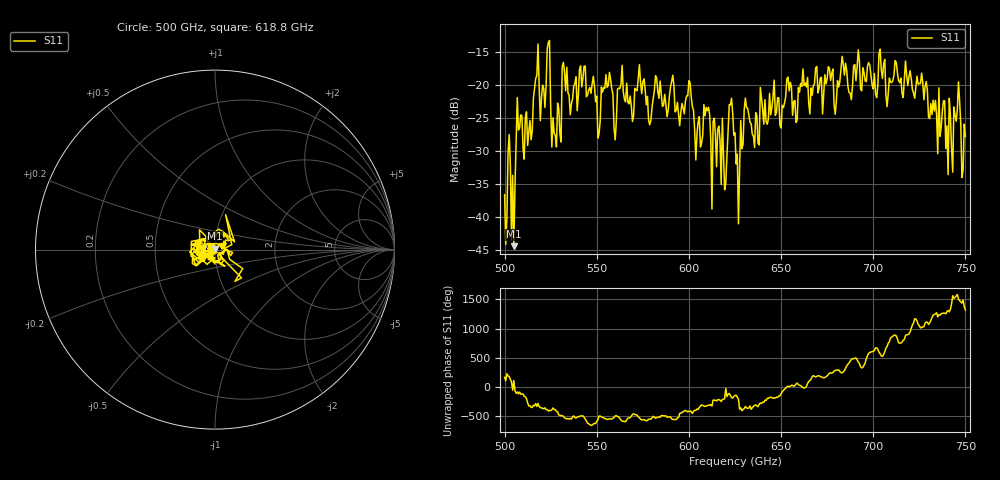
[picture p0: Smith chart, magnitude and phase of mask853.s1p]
!Created with skrf (http://scikit-rf.org).
# GHz S MA R 50.0
!freq magS11 angS11
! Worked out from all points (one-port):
!   401 points, 500 GHz to 750 GHz, reference 50 ohm
!   lowest |S11| = -44.4 dB at 505 GHz (marker M1), VSWR 1.01, Z = 49.8 + j0.578 ohm
!   |S11| at or under -10 dB: start of sweep to end of sweep
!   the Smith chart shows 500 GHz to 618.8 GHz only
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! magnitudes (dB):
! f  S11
! 500 GHz  -36.6
! 503.1 GHz  -32.1
! 505 GHz  -44.4
! 507.5 GHz  -26.8
! 513.8 GHz  -25.4
! 516.9 GHz  -19.0
! 520.6 GHz  -20.0
! 523.8 GHz  -13.6
! 526.9 GHz  -27.3
! 531.2 GHz  -17.2
! 542.5 GHz  -19.0
! 550.6 GHz  -28.1
! 562.5 GHz  -20.6
! 593.8 GHz  -22.7
! 609.4 GHz  -23.4
! 618.8 GHz  -30.4
! 622.5 GHz  -23.1
! 625 GHz  -27.3
! 626.2 GHz  -30.5
! 631.2 GHz  -23.5
! 636.9 GHz  -24.7
! 656.2 GHz  -24.6
! 676.9 GHz  -19.3
! 680 GHz  -22.5
! 683.8 GHz  -16.9
! 687.5 GHz  -21.3
! 718.8 GHz  -20.1
! 750 GHz  -27.8
